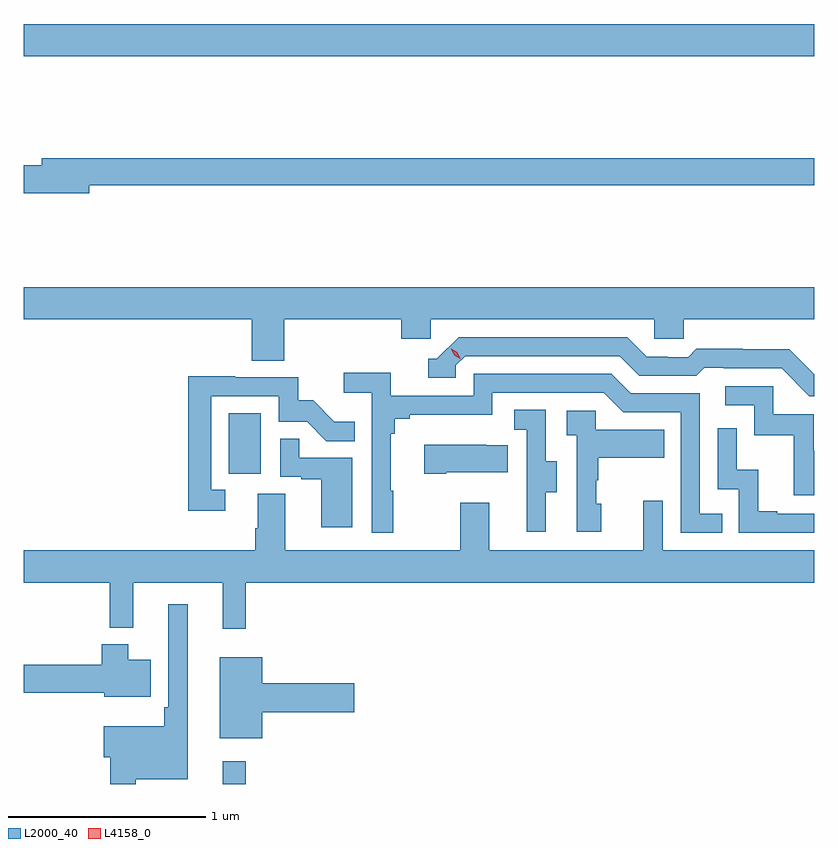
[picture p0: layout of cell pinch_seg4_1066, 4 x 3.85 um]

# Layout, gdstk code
import gdstk
lib = gdstk.Library(unit=1e-6, precision=1e-09)
def R(c, l, rs):  # rectangles x0, y0, x1, y1
    for r in rs: c.add(gdstk.rectangle(r[:2], r[2:], *l))
def P(c, l, *ps):  # polygons
    for p in ps: c.add(gdstk.Polygon(p, *l))
L2000_40 = (2000, 40)
L4158_0 = (4158, 0)

pinch_seg4_1066 = lib.new_cell('pinch_seg4_1066')
R(pinch_seg4_1066, L2000_40, [(879.908,751.844,880.025,751.96), (879.938,753.414,880.102,753.721), (878.902,755.528,882.902,755.692)])
P(pinch_seg4_1066, L2000_40, [(879.232,754.876),(882.902,754.876),(882.902,755.012),(878.993,755.012),(878.993,754.976),(878.902,754.976),(878.902,754.834),(879.232,754.834)],
  [(880.22,754.196),(880.811,754.196),(880.811,754.098),(880.962,754.098),(880.962,754.196),(882.093,754.196),(882.093,754.098),(882.243,754.098),(882.243,754.196),(882.902,754.196),(882.902,754.36),(878.902,754.36),(878.902,754.196),(880.055,754.196),(880.055,753.988),(880.22,753.988)],
  [(882.902,753.919),(882.776,754.045),(882.54,754.045),(882.54,754.048),(882.307,754.048),(882.265,754.005),(882.162,754.005),(882.162,754.008),(882.055,754.008),(881.956,754.107),(881.103,754.107),(880.992,753.996),(880.949,753.996),(880.949,753.9),(881.088,753.9),(881.088,753.963),(881.136,754.011),(881.919,754.011),(882.018,753.912),(882.307,753.912),(882.346,753.951),(882.445,753.951),(882.445,753.948),(882.738,753.948),(882.879,753.807),(882.902,753.807)],
  [(880.771,753.329),(880.759,753.329),(880.759,753.617),(880.778,753.617),(880.778,753.694),(880.855,753.694),(880.855,753.713),(881.274,753.713),(881.274,753.825),(881.838,753.825),(881.937,753.726),(882.228,753.726),(882.228,753.117),(882.437,753.117),(882.437,753.213),(882.324,753.213),(882.324,753.822),(881.974,753.822),(881.875,753.921),(881.178,753.921),(881.178,753.81),(880.76,753.81),(880.76,753.926),(880.521,753.926),(880.521,753.824),(880.662,753.824),(880.662,753.117),(880.771,753.117)],
  [(879.922,753.333),(879.849,753.333),(879.849,753.807),(880.191,753.807),(880.191,753.678),(880.335,753.678),(880.433,753.58),(880.577,753.58),(880.577,753.679),(880.473,753.679),(880.366,753.786),(880.29,753.786),(880.29,753.903),(879.971,753.903),(879.971,753.908),(879.733,753.908),(879.733,753.228),(879.922,753.228)],
  [(882.902,753.531),(882.901,753.531),(882.901,753.717),(882.696,753.717),(882.696,753.858),(882.453,753.858),(882.453,753.762),(882.6,753.762),(882.6,753.609),(882.799,753.609),(882.799,753.306),(882.902,753.306)],
  [(881.545,753.322),(881.599,753.322),(881.599,753.477),(881.544,753.477),(881.544,753.74),(881.385,753.74),(881.385,753.637),(881.448,753.637),(881.448,753.333),(881.447,753.333),(881.447,753.12),(881.545,753.12)],
  [(881.824,753.264),(881.799,753.264),(881.799,753.383),(881.809,753.383),(881.809,753.497),(882.143,753.497),(882.143,753.637),(881.796,753.637),(881.796,753.735),(881.649,753.735),(881.649,753.611),(881.7,753.611),(881.7,753.12),(881.824,753.12)],
  [(882.902,753.213),(882.715,753.213),(882.715,753.226),(882.62,753.226),(882.62,753.434),(882.51,753.434),(882.51,753.646),(882.414,753.646),(882.414,753.336),(882.522,753.336),(882.522,753.117),(882.902,753.117)],
  [(880.564,753.495),(880.295,753.495),(880.295,753.593),(880.2,753.593),(880.2,753.399),(880.307,753.399),(880.307,753.387),(880.406,753.387),(880.406,753.144),(880.564,753.144)],
  [(881.041,753.422),(881.351,753.422),(881.351,753.559),(881.243,753.559),(881.243,753.562),(880.929,753.562),(880.929,753.415),(881.041,753.415)],
  [(880.025,752.864),(882.902,752.864),(882.902,753.028),(882.135,753.028),(882.135,753.277),(882.038,753.277),(882.038,753.028),(881.257,753.028),(881.257,753.268),(881.11,753.268),(881.11,753.028),(880.225,753.028),(880.225,753.314),(880.085,753.314),(880.085,753.14),(880.073,753.14),(880.073,753.028),(878.902,753.028),(878.902,752.864),(879.337,752.864),(879.337,752.636),(879.455,752.636),(879.455,752.864),(879.908,752.864),(879.908,752.631),(880.025,752.631)],
  [(879.469,751.868),(879.73,751.868),(879.73,752.755),(879.633,752.755),(879.633,752.233),(879.613,752.233),(879.613,752.137),(879.306,752.137),(879.306,751.979),(879.34,751.979),(879.34,751.844),(879.469,751.844)],
  [(879.544,752.473),(879.43,752.473),(879.43,752.551),(879.296,752.551),(879.296,752.448),(878.902,752.448),(878.902,752.306),(879.308,752.306),(879.308,752.285),(879.544,752.285)],
  [(880.108,752.207),(880.573,752.207),(880.573,752.354),(880.108,752.354),(880.108,752.485),(879.893,752.485),(879.893,752.075),(880.108,752.075)])
P(pinch_seg4_1066, L4158_0, [(881.112,753.997),(881.081,754.016),(881.065,754.049),(881.065,754.049),(881.065,754.049),(881.096,754.03),(881.112,753.997),(881.112,753.997)])

lib.write_gds('pinch_seg4_1066.gds')
